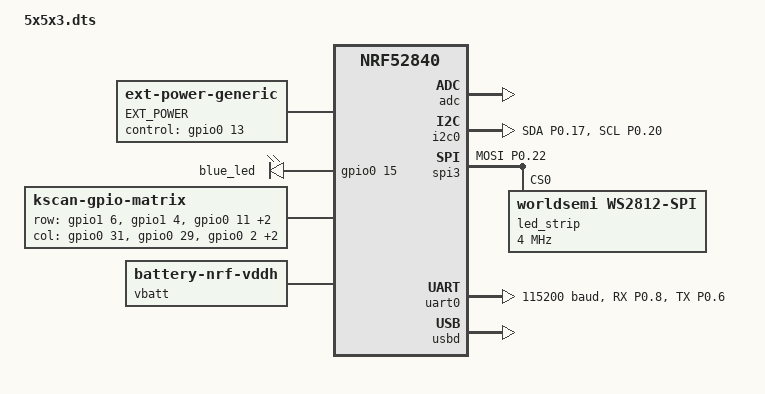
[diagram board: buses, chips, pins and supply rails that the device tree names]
/dts-v1/;

#include <nordic/nrf52840_qiaa.dtsi>
#include <dt-bindings/led/led.h>

&pinctrl {
    uart0_default: uart0_default {
        group1 {
            psels = <NRF_PSEL(UART_RX, 0, 8)>;
            bias-pull-up;
        };
        group2 {
            psels = <NRF_PSEL(UART_TX, 0, 6)>;
        };
    };

    uart0_sleep: uart0_sleep {
        group1 {
            psels = <NRF_PSEL(UART_RX, 0, 8)>,
                <NRF_PSEL(UART_TX, 0, 6)>;
            low-power-enable;
        };
    };

    i2c0_default: i2c0_default {
        group1 {
            psels = <NRF_PSEL(TWIM_SDA, 0, 17)>,
                <NRF_PSEL(TWIM_SCL, 0, 20)>;
        };
    };

    i2c0_sleep: i2c0_sleep {
        group1 {
            psels = <NRF_PSEL(TWIM_SDA, 0, 17)>,
                <NRF_PSEL(TWIM_SCL, 0, 20)>;
            low-power-enable;
        };
    };

    spi3_default: spi3_default {
        group1 {
            psels = <NRF_PSEL(SPIM_MOSI, 0, 22)>;
        };
    };

    spi3_sleep: spi3_sleep {
        group1 {
            psels = <NRF_PSEL(SPIM_MOSI, 0, 22)>;
            low-power-enable;
        };
    };
};

&adc {
    status = "okay";
};

&gpiote {
    status = "okay";
};

&gpio0 {
    status = "okay";
};

&gpio1 {
    status = "okay";
};

&i2c0 {
    zephyr,concat-buf-size = <1024>;
    compatible = "nordic,nrf-twim";
    pinctrl-0 = <&i2c0_default>;
    pinctrl-1 = <&i2c0_sleep>;
    pinctrl-names = "default", "sleep";
};

&spi3 {
    status = "okay";
    compatible = "nordic,nrf-spim";
    pinctrl-0 = <&spi3_default>;
    pinctrl-1 = <&spi3_sleep>;
    pinctrl-names = "default", "sleep";

    led_strip: ws2812@0 {
        compatible = "worldsemi,ws2812-spi";

        /* SPI */
        reg = <0>; /* ignored, but necessary for SPI bindings */
        spi-max-frequency = <4000000>;

        /* WS2812 */
        chain-length = <25>;
        spi-one-frame = <0x70>;
        spi-zero-frame = <0x40>;
        color-mapping = <LED_COLOR_ID_GREEN
                         LED_COLOR_ID_RED
                         LED_COLOR_ID_BLUE>;
    };
};

&uart0 {
    compatible = "nordic,nrf-uarte";
    current-speed = <115200>;
    pinctrl-0 = <&uart0_default>;
    pinctrl-1 = <&uart0_sleep>;
    pinctrl-names = "default", "sleep";
};

&usbd {
    status = "okay";
    cdc_acm_uart: cdc_acm_uart {
        compatible = "zephyr,cdc-acm-uart";
    };
};


&flash0 {
    /*
     * For more information, see:
     * http://docs.zephyrproject.org/latest/devices/dts/flash_partitions.html
     */
    partitions {
        compatible = "fixed-partitions";
        #address-cells = <1>;
        #size-cells = <1>;

        sd_partition: partition@0 {
            reg = <0x00000000 0x00026000>;
        };
        code_partition: partition@26000 {
            reg = <0x00026000 0x000c6000>;
        };

        /*
         * The flash starting at 0x000ec000 and ending at
         * 0x000f3fff is reserved for use by the application.
         */

        /*
         * Storage partition will be used by FCB/LittleFS/NVS
         * if enabled.
         */
        storage_partition: partition@ec000 {
            reg = <0x000ec000 0x00008000>;
        };

        boot_partition: partition@f4000 {
            reg = <0x000f4000 0x0000c000>;
        };
    };
};

/ {
    chosen {
        zephyr,code-partition = &code_partition;
        zephyr,sram = &sram0;
        zephyr,flash = &flash0;
        zephyr,console = &cdc_acm_uart;
        zephyr,shell-uart = &cdc_acm_uart;
        zmk,battery = &vbatt;
        zmk,kscan = &kscan0;
        zmk,underglow = &led_strip;
    };

    EXT_POWER {
        compatible = "zmk,ext-power-generic";
        control-gpios = <&gpio0 13 GPIO_ACTIVE_HIGH>;
        init-delay-ms = <50>;
    };

    leds {
        compatible = "gpio-leds";
        blue_led: led_0 {
            gpios = <&gpio0 15 GPIO_ACTIVE_HIGH>;
        };
    };

    kscan0: kscan {
        compatible = "zmk,kscan-gpio-matrix";
        wakeup-source;
        label = "KSCAN";
        diode-direction = "row2col";
        row-gpios
                        = <&gpio1  6 (GPIO_ACTIVE_HIGH | GPIO_PULL_DOWN)>
                        , <&gpio1  4 (GPIO_ACTIVE_HIGH | GPIO_PULL_DOWN)>
                        , <&gpio0 11 (GPIO_ACTIVE_HIGH | GPIO_PULL_DOWN)>
                        , <&gpio1  0 (GPIO_ACTIVE_HIGH | GPIO_PULL_DOWN)>
                        , <&gpio0 24 (GPIO_ACTIVE_HIGH | GPIO_PULL_DOWN)>
                ;
        col-gpios
                        = <&gpio0 31 (GPIO_ACTIVE_HIGH | GPIO_PULL_DOWN)>
                        , <&gpio0 29 (GPIO_ACTIVE_HIGH | GPIO_PULL_DOWN)>
                        , <&gpio0  2 (GPIO_ACTIVE_HIGH | GPIO_PULL_DOWN)>
                        , <&gpio1 15 (GPIO_ACTIVE_HIGH | GPIO_PULL_DOWN)>
                        , <&gpio0  9 (GPIO_ACTIVE_HIGH | GPIO_PULL_DOWN)>
                ;
    };

    vbatt: vbatt {
        compatible = "zmk,battery-nrf-vddh";
    };
};
